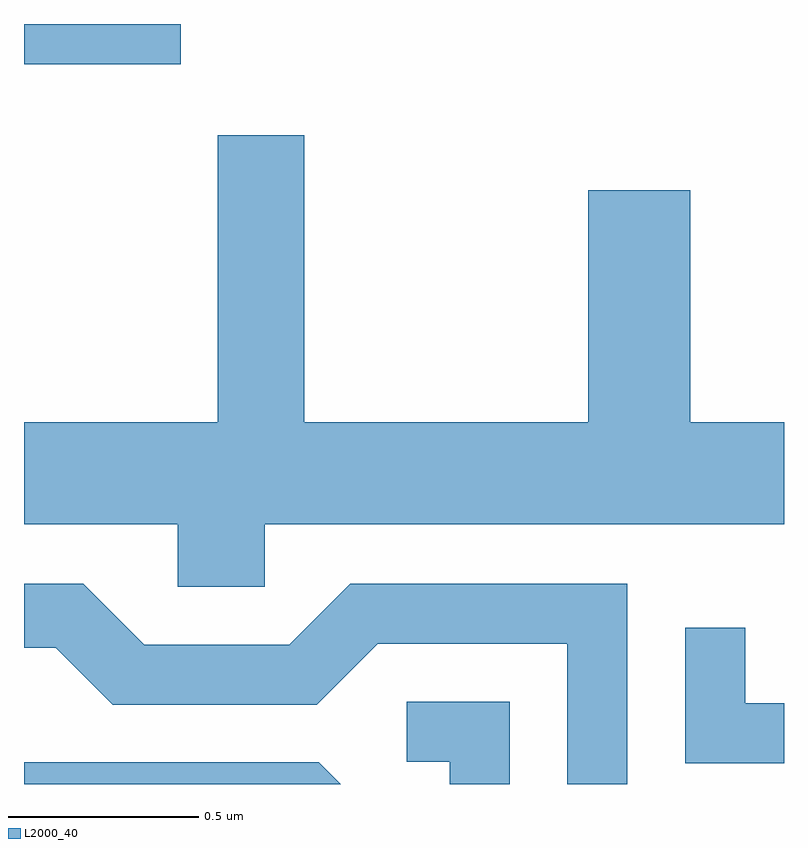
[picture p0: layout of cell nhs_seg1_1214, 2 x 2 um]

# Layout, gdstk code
import gdstk
lib = gdstk.Library(unit=1e-6, precision=1e-09)
def R(c, l, rs):  # rectangles x0, y0, x1, y1
    for r in rs: c.add(gdstk.rectangle(r[:2], r[2:], *l))
def P(c, l, *ps):  # polygons
    for p in ps: c.add(gdstk.Polygon(p, *l))
L2000_40 = (2000, 40)

nhs_seg1_1214 = lib.new_cell('nhs_seg1_1214')
R(nhs_seg1_1214, L2000_40, [(193.611,969.606,194.024,969.712)])
P(nhs_seg1_1214, L2000_40, [(194.244,968.396),(195.611,968.396),(195.611,968.664),(195.364,968.664),(195.364,969.274),(195.096,969.274),(195.096,968.664),(194.349,968.664),(194.349,969.419),(194.121,969.419),(194.121,968.664),(193.611,968.664),(193.611,968.396),(194.016,968.396),(194.016,968.231),(194.244,968.231)],
  [(195.199,968.239),(194.469,968.239),(194.309,968.079),(193.927,968.079),(193.767,968.239),(193.611,968.239),(193.611,968.071),(193.694,968.071),(193.844,967.921),(194.382,967.921),(194.542,968.081),(195.041,968.081),(195.041,967.712),(195.199,967.712)],
  [(195.611,967.924),(195.509,967.924),(195.509,968.123),(195.351,968.123),(195.351,967.766),(195.611,967.766)],
  [(194.889,967.929),(194.618,967.929),(194.618,967.771),(194.731,967.771),(194.731,967.712),(194.889,967.712)],
  [(194.387,967.769),(193.611,967.769),(193.611,967.712),(194.444,967.712)])

lib.write_gds('nhs_seg1_1214.gds')
